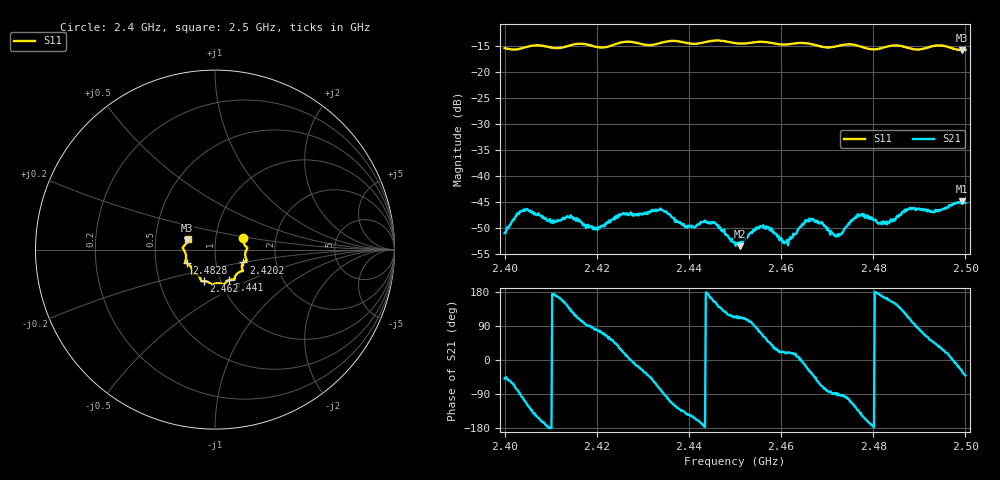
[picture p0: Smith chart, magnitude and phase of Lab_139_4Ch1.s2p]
# Hz S RI R 50
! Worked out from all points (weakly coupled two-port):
!   601 points, 2.4 GHz to 2.5 GHz, reference 50 ohm
!   highest |S21| = -44.89 dB at 2.4992 GHz (marker M1); lowest = -53.6 dB at 2.451 GHz (marker M2)
!   lowest |S11| = -15.8 dB at 2.4993 GHz (marker M3), VSWR 1.39, Z = 36.5 + j3.88 ohm
!   |S11| at or under -10 dB: start of sweep to end of sweep
!   S12 and S22 are empty: the file has one direction only
!   S11 on the Smith chart (normalised r, x): 2.4 GHz: 1.36, +0.17; 2.4202 GHz: 1.36, -0.20; 2.441 GHz: 1.10, -0.39; 2.462 GHz: 0.84, -0.30; 2.4828 GHz: 0.72, -0.11; 2.5 GHz: 0.73, +0.09
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2.4e9  0.1583 0.0623  0.00185 -0.00212  0 0  0 0
2.4045e9  0.1723 0.0166  -0.00161 -0.00434  0 0  0 0
2.4105e9  0.1706 -0.0116  -0.00348 0.000424  0 0  0 0
2.416667e9  0.1773 -0.0607  -0.00077 0.00348  0 0  0 0
2.420167e9  0.1581 -0.0715  0.000638 0.00293  0 0  0 0
2.425333e9  0.1548 -0.1152  0.00381 0.00183  0 0  0 0
2.433333e9  0.1116 -0.1511  0.00149 -0.00443  0 0  0 0
2.441e9  0.0785 -0.1699  -0.0028 -0.00155  0 0  0 0
2.4455e9  0.0509 -0.1943  -0.00319 0.00157  0 0  0 0
2.45e9  0.0281 -0.1877  -0.000925 0.00207  0 0  0 0
2.451e9  0.0179 -0.1869  -0.000718 0.00197  0 0  0 0
2.455833e9  -0.0157 -0.1951  0.00121 0.00301  0 0  0 0
2.462e9  -0.0606 -0.1759  0.00243 0.0008  0 0  0 0
2.466667e9  -0.0789 -0.1681  0.00307 -0.00221  0 0  0 0
2.471833e9  -0.1123 -0.1359  5.47e-05 -0.00259  0 0  0 0
2.477e9  -0.1271 -0.1242  -0.00299 -0.00279  0 0  0 0
2.482833e9  -0.1577 -0.0765  -0.00346 0.00108  0 0  0 0
2.483333e9  -0.1607 -0.0753  -0.00326 0.00127  0 0  0 0
2.487667e9  -0.1621 -0.0529  -0.0018 0.00442  0 0  0 0
2.499167e9  -0.1549 0.0495  0.0051 -0.00254  0 0  0 0
2.499333e9  -0.154 0.0517  0.00459 -0.00289  0 0  0 0
2.5e9  -0.1522 0.0611  0.00414 -0.00357  0 0  0 0
